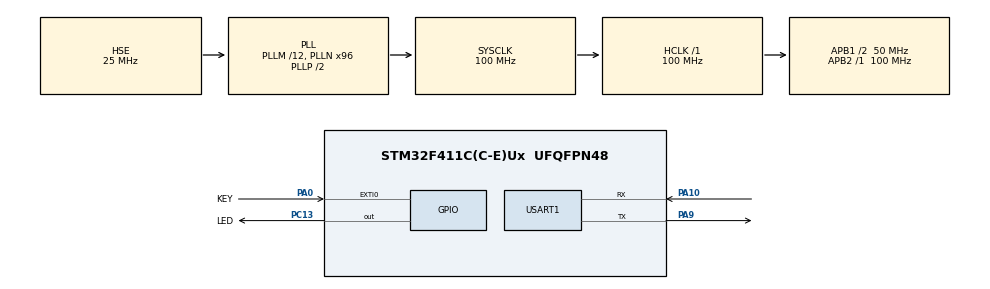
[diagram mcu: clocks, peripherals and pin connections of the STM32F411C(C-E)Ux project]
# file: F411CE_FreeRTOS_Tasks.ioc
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FREERTOS.Tasks01=defaultTask,24,256,StartDefaultTask,Default,NULL,Dynamic,NULL,NULL;Task1,24,256,CounterTask,Default,NULL,Dynamic,NULL,NULL;Task2,24,256,CounterTask,Default,NULL,Dynamic,NULL,NULL
FREERTOS.configCHECK_FOR_STACK_OVERFLOW=2
FREERTOS.configMINIMAL_STACK_SIZE=256
FREERTOS.configRECORD_STACK_HIGH_ADDRESS=1
FREERTOS.configUSE_NEWLIB_REENTRANT=1
Mcu.Family=STM32F4
Mcu.Name=STM32F411C(C-E)Ux
Mcu.Package=UFQFPN48
NVIC.EXTI0_IRQn=true\:5\:0\:false\:false\:true\:true\:true\:true
NVIC.PriorityGroup=NVIC_PRIORITYGROUP_4
NVIC.TIM1_TRG_COM_TIM11_IRQn=true\:15\:0\:false\:false\:true\:false\:false\:true
NVIC.TimeBase=TIM1_TRG_COM_TIM11_IRQn
NVIC.TimeBaseIP=TIM11
PA0-WKUP.GPIO_Label=KEY
PA0-WKUP.GPIO_PuPd=GPIO_PULLUP
PA0-WKUP.Signal=GPXTI0
PA10.Mode=Asynchronous
PA10.Signal=USART1_RX
PA13.Mode=Trace_Asynchronous_SW
PA13.Signal=SYS_JTMS-SWDIO
PA14.Mode=Trace_Asynchronous_SW
PA14.Signal=SYS_JTCK-SWCLK
PA9.Mode=Asynchronous
PA9.Signal=USART1_TX
PB3.Mode=Trace_Asynchronous_SW
PB3.Signal=SYS_JTDO-SWO
PC13-ANTI_TAMP.GPIO_Label=LED
PC13-ANTI_TAMP.Signal=GPIO_Output
PC14-OSC32_IN.Mode=LSE-External-Oscillator
PC14-OSC32_IN.Signal=RCC_OSC32_IN
PC15-OSC32_OUT.Mode=LSE-External-Oscillator
PC15-OSC32_OUT.Signal=RCC_OSC32_OUT
PH0\ -\ OSC_IN.Mode=HSE-External-Oscillator
PH0\ -\ OSC_IN.Signal=RCC_OSC_IN
PH1\ -\ OSC_OUT.Mode=HSE-External-Oscillator
PH1\ -\ OSC_OUT.Signal=RCC_OSC_OUT
ProjectManager.HeapSize=0x200
ProjectManager.StackSize=0x400
ProjectManager.TargetToolchain=STM32CubeIDE
RCC.48MHZClocksFreq_Value=50000000
RCC.AHBFreq_Value=100000000
RCC.APB1CLKDivider=RCC_HCLK_DIV2
RCC.APB1Freq_Value=50000000
RCC.APB1TimFreq_Value=100000000
RCC.APB2Freq_Value=100000000
RCC.APB2TimFreq_Value=100000000
RCC.CortexFreq_Value=100000000
RCC.HCLKFreq_Value=100000000
RCC.HSE_VALUE=25000000
RCC.HSI_VALUE=16000000
RCC.PLLM=12
RCC.PLLN=96
RCC.PLLSourceVirtual=RCC_PLLSOURCE_HSE
RCC.SYSCLKFreq_VALUE=100000000
RCC.SYSCLKSource=RCC_SYSCLKSOURCE_PLLCLK
RCC.VCOOutputFreq_Value=200000000
USART1.VirtualMode=VM_ASYNC
VP_FREERTOS_VS_CMSIS_V2.Mode=CMSIS_V2
VP_SYS_VS_tim11.Mode=TIM11
board=custom

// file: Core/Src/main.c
/* USER CODE BEGIN Header */
/**
  ******************************************************************************
  * @file           : main.c
  * @brief          : Main program body
  ******************************************************************************
  * @attention
  *
  * <h2><center>&copy; Copyright (c) 2021 STMicroelectronics.
  * All rights reserved.</center></h2>
  *
  * This software component is licensed by ST under BSD 3-Clause license,
  * the "License"; You may not use this file except in compliance with the
  * License. You may obtain a copy of the License at:
  *                        opensource.org/licenses/BSD-3-Clause
  *
  ******************************************************************************
  */
/* USER CODE END Header */
#include "main.h"
#include "cmsis_os.h"

/* USER CODE BEGIN Includes */
#include <stdio.h>
#include <string.h>
#if USE_SEGGER_SYSVIEW
#include "SEGGER_SYSVIEW.h"
////////////////////////////////////////////////////////////////////////////////
//
// RE-APPLY THE SEGGER FreeRTOS PATCH AFTER USING CUBEMX TO GENERATE SOURCE CODE
//
////////////////////////////////////////////////////////////////////////////////
#endif
/* USER CODE END Includes */

/* USER CODE BEGIN PD */
#define PROJECT_NAME              "FreeRTOS Tasks"
#define TASK_1_HIGH_PRIORITY      0
#define TASK_2_HIGH_PRIORITY      0
#define USE_HAL_DELAY             1
/* USER CODE END PD */

UART_HandleTypeDef huart1;

/* Definitions for defaultTask */
osThreadId_t defaultTaskHandle;
const osThreadAttr_t defaultTask_attributes = {
  .name = "defaultTask",
  .stack_size = 256 * 4,
  .priority = (osPriority_t) osPriorityNormal,
};
/* Definitions for Task1 */
osThreadId_t Task1Handle;
const osThreadAttr_t Task1_attributes = {
  .name = "Task1",
  .stack_size = 256 * 4,
  .priority = (osPriority_t) osPriorityNormal,
};
/* Definitions for Task2 */
osThreadId_t Task2Handle;
const osThreadAttr_t Task2_attributes = {
  .name = "Task2",
  .stack_size = 256 * 4,
  .priority = (osPriority_t) osPriorityNormal,
};
/* USER CODE BEGIN PV */
typedef struct {
  uint8_t start;
  uint8_t end;
} CounterRange_t;
CounterRange_t Task1_CounterRange = {'0', '9'};
CounterRange_t Task2_CounterRange = {'A', 'J'};
/* USER CODE END PV */

void SystemClock_Config(void);
static void MX_GPIO_Init(void);
static void MX_USART1_UART_Init(void);
void StartDefaultTask(void *argument);
void CounterTask(void *argument);

/* USER CODE BEGIN 0 */
int _write(int file, char *ptr, int len)
{
  // block UART if it is not ready
  while(HAL_UART_GetState(&huart1) != HAL_UART_STATE_READY);
  // return written bytes
  return HAL_UART_Transmit(&huart1, (uint8_t*) ptr, len, HAL_MAX_DELAY) == 0 ? len : 0;
}

void HAL_GPIO_EXTI_Callback(uint16_t GPIO_Pin)
{
  // do something here
  printf("Key pressed\r\n");
}
/* USER CODE END 0 */

int main(void)
{

  /* MCU Configuration--------------------------------------------------------*/

  /* Reset of all peripherals, Initializes the Flash interface and the Systick. */
  HAL_Init();

  /* Configure the system clock */
  SystemClock_Config();

  /* Initialize all configured peripherals */
  MX_GPIO_Init();
  MX_USART1_UART_Init();
  /* USER CODE BEGIN 2 */
  printf("%s\r\n", PROJECT_NAME);
#if USE_SEGGER_SYSVIEW
  SEGGER_SYSVIEW_Conf();
  printf("SEGGER SYSVIEW Enabled\r\n");
#endif
  /* USER CODE END 2 */

  /* Init scheduler */
  osKernelInitialize();

  /* USER CODE BEGIN RTOS_QUEUES */
  /* add queues, ... */
#if 0
  /* USER CODE END RTOS_QUEUES */

  /* Create the thread(s) */
  /* creation of defaultTask */
  defaultTaskHandle = osThreadNew(StartDefaultTask, NULL, &defaultTask_attributes);

  /* creation of Task1 */
  Task1Handle = osThreadNew(CounterTask, NULL, &Task1_attributes);

  /* creation of Task2 */
  Task2Handle = osThreadNew(CounterTask, NULL, &Task2_attributes);

  /* USER CODE BEGIN RTOS_THREADS */
#endif
  /* add threads, ... */
  defaultTaskHandle = osThreadNew(StartDefaultTask, NULL, &defaultTask_attributes);
#if TASK_1_HIGH_PRIORITY | TASK_2_HIGH_PRIORITY
  osThreadSetPriority(defaultTaskHandle, osPriorityHigh);
#endif

  Task1Handle = osThreadNew(CounterTask, (void*) &Task1_CounterRange, &Task1_attributes);
#if TASK_1_HIGH_PRIORITY
  osThreadSetPriority(Task1Handle, osPriorityHigh);
#endif

  Task2Handle = osThreadNew(CounterTask, (void*) &Task2_CounterRange, &Task2_attributes);
#if TASK_2_HIGH_PRIORITY
  osThreadSetPriority(Task2Handle, osPriorityHigh);
#endif
  /* USER CODE END RTOS_THREADS */

  /* Start scheduler */
  osKernelStart();

  /* We should never get here as control is now taken by the scheduler */
  /* Infinite loop */
  while (1)
  {

  }
}

void SystemClock_Config(void)
{
  RCC_OscInitTypeDef RCC_OscInitStruct = {0};
  RCC_ClkInitTypeDef RCC_ClkInitStruct = {0};

  /** Configure the main internal regulator output voltage
  */
  __HAL_RCC_PWR_CLK_ENABLE();
  __HAL_PWR_VOLTAGESCALING_CONFIG(PWR_REGULATOR_VOLTAGE_SCALE1);
  /** Initializes the RCC Oscillators according to the specified parameters
  * in the RCC_OscInitTypeDef structure.
  */
  RCC_OscInitStruct.OscillatorType = RCC_OSCILLATORTYPE_HSE;
  RCC_OscInitStruct.HSEState = RCC_HSE_ON;
  RCC_OscInitStruct.PLL.PLLState = RCC_PLL_ON;
  RCC_OscInitStruct.PLL.PLLSource = RCC_PLLSOURCE_HSE;
  RCC_OscInitStruct.PLL.PLLM = 12;
  RCC_OscInitStruct.PLL.PLLN = 96;
  RCC_OscInitStruct.PLL.PLLP = RCC_PLLP_DIV2;
  RCC_OscInitStruct.PLL.PLLQ = 4;
  if (HAL_RCC_OscConfig(&RCC_OscInitStruct) != HAL_OK)
  {
    Error_Handler();
  }
  /** Initializes the CPU, AHB and APB buses clocks
  */
  RCC_ClkInitStruct.ClockType = RCC_CLOCKTYPE_HCLK|RCC_CLOCKTYPE_SYSCLK
                              |RCC_CLOCKTYPE_PCLK1|RCC_CLOCKTYPE_PCLK2;
  RCC_ClkInitStruct.SYSCLKSource = RCC_SYSCLKSOURCE_PLLCLK;
  RCC_ClkInitStruct.AHBCLKDivider = RCC_SYSCLK_DIV1;
  RCC_ClkInitStruct.APB1CLKDivider = RCC_HCLK_DIV2;
  RCC_ClkInitStruct.APB2CLKDivider = RCC_HCLK_DIV1;

  if (HAL_RCC_ClockConfig(&RCC_ClkInitStruct, FLASH_LATENCY_3) != HAL_OK)
  {
    Error_Handler();
  }
}

static void MX_USART1_UART_Init(void)
{

  huart1.Instance = USART1;
  huart1.Init.BaudRate = 115200;
  huart1.Init.WordLength = UART_WORDLENGTH_8B;
  huart1.Init.StopBits = UART_STOPBITS_1;
  huart1.Init.Parity = UART_PARITY_NONE;
  huart1.Init.Mode = UART_MODE_TX_RX;
  huart1.Init.HwFlowCtl = UART_HWCONTROL_NONE;
  huart1.Init.OverSampling = UART_OVERSAMPLING_16;
  if (HAL_UART_Init(&huart1) != HAL_OK)
  {
    Error_Handler();
  }

}

static void MX_GPIO_Init(void)
{
  GPIO_InitTypeDef GPIO_InitStruct = {0};

  /* GPIO Ports Clock Enable */
  __HAL_RCC_GPIOC_CLK_ENABLE();
  __HAL_RCC_GPIOH_CLK_ENABLE();
  __HAL_RCC_GPIOA_CLK_ENABLE();
  __HAL_RCC_GPIOB_CLK_ENABLE();

  /*Configure GPIO pin Output Level */
  HAL_GPIO_WritePin(LED_GPIO_Port, LED_Pin, GPIO_PIN_RESET);

  /*Configure GPIO pin : LED_Pin */
  GPIO_InitStruct.Pin = LED_Pin;
  GPIO_InitStruct.Mode = GPIO_MODE_OUTPUT_PP;
  GPIO_InitStruct.Pull = GPIO_NOPULL;
  GPIO_InitStruct.Speed = GPIO_SPEED_FREQ_LOW;
  HAL_GPIO_Init(LED_GPIO_Port, &GPIO_InitStruct);

  /*Configure GPIO pin : KEY_Pin */
  GPIO_InitStruct.Pin = KEY_Pin;
  GPIO_InitStruct.Mode = GPIO_MODE_IT_RISING;
  GPIO_InitStruct.Pull = GPIO_PULLUP;
  HAL_GPIO_Init(KEY_GPIO_Port, &GPIO_InitStruct);

  /* EXTI interrupt init*/
  HAL_NVIC_SetPriority(EXTI0_IRQn, 5, 0);
  HAL_NVIC_EnableIRQ(EXTI0_IRQn);

}

void StartDefaultTask(void *argument)
{
  /* USER CODE BEGIN 5 */
//  char* name = pcTaskGetName(NULL);
//  uint8_t counter = 0;
  /* Infinite loop */
  for(;;)
  {
    HAL_GPIO_TogglePin(LED_GPIO_Port, LED_Pin);
//    printf("%s: heart beat %u\r\n", name, counter++);
    osDelay(500);
  }
  /* USER CODE END 5 */
}

void CounterTask(void *argument)
{
  /* USER CODE BEGIN CounterTask */
  char* name = pcTaskGetName(NULL);
  CounterRange_t* range = (CounterRange_t*)argument;
  printf("%s: range = %c : %c\r\n", name, range->start, range->end);
  uint8_t counter = range->start;
  /* Infinite loop */
  for(;;)
  {
    printf("%s: counter = %c\r\n", name, counter++);
    if(counter > range->end) {
      counter = range->start;
    }
#if USE_HAL_DELAY
    HAL_Delay(500);
#else
    osDelay(500);
#endif
  }
  /* USER CODE END CounterTask */
}

void HAL_TIM_PeriodElapsedCallback(TIM_HandleTypeDef *htim)
{
  if (htim->Instance == TIM11) {
    HAL_IncTick();
  }
}

void Error_Handler(void)
{
  __disable_irq();
  while (1)
  {
  }
}

/************************ (C) COPYRIGHT STMicroelectronics *****END OF FILE****/
